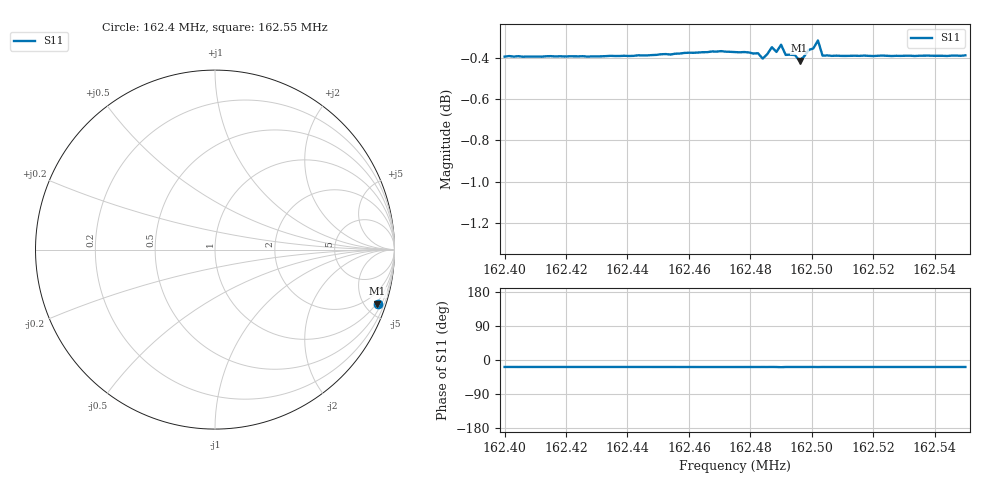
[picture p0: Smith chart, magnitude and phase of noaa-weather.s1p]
! Calibrated averaged scanner-service zoom
# Hz S RI R 50
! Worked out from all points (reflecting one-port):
!   101 points, 162.4 MHz to 162.55 MHz, reference 50 ohm
!   lowest |S11| = -0.4 dB at 162.496 MHz (marker M1), VSWR 42.14, Z = 45.3 - j302 ohm
!   phase of S11 starts at -18 deg and turns -0 deg over the sweep
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1.624e8  0.9071 -0.3011
1.62403e8  0.9072 -0.3011
1.624045e8  0.9071 -0.3019
1.62406e8  0.907 -0.3012
1.624195e8  0.9072 -0.3012
1.624375e8  0.9074 -0.3013
1.62442e8  0.9075 -0.3013
1.62457e8  0.9083 -0.3029
1.624705e8  0.9092 -0.3043
1.62475e8  0.9088 -0.3039
1.624825e8  0.9084 -0.3032
1.62484e8  0.9058 -0.3017
1.624855e8  0.9079 -0.3029
1.62487e8  0.9121 -0.3021
1.624885e8  0.909 -0.3036
1.6249e8  0.91 -0.3126
1.624915e8  0.9078 -0.3022
1.624945e8  0.9077 -0.3022
1.62496e8  0.9048 -0.3014
1.624975e8  0.9071 -0.3017
1.62499e8  0.9104 -0.3028
1.625005e8  0.9113 -0.3025
1.62502e8  0.9143 -0.307
1.625035e8  0.9075 -0.3016
1.62505e8  0.9075 -0.3021
1.625125e8  0.9073 -0.3019
1.62532e8  0.9074 -0.3021
1.6255e8  0.9075 -0.3021
